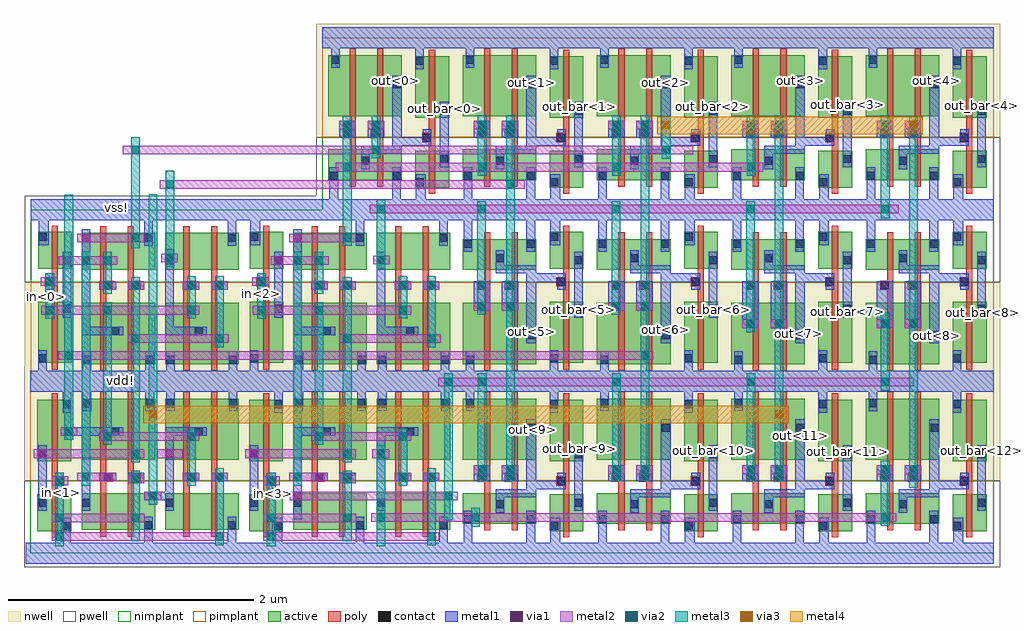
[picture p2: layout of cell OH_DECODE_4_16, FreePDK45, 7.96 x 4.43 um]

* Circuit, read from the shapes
.subckt OH_DECODE_4_16 in<0> in<1> in<2> in<3> out<0> out<10> out<11> out<12> out<1> out<2> out<3> out<4> out<5> out<6> out<7> out<8> out<9> out_bar<0> out_bar<10> out_bar<11> out_bar<12> out_bar<1> out_bar<2> out_bar<3> out_bar<4> out_bar<5> out_bar<6> out_bar<7> out_bar<8> out_bar<9> vdd! vss!
M1 vss! in<1> OH_DECODE_2_4_1/NAND2_2/B VSUBS nfet w=0.3u l=0.05u
M2 OH_DECODE_2_4_1/NAND2_1/A in<0> vss! VSUBS nfet w=0.3u l=0.05u
M3 n1 OH_DECODE_2_4_1/NAND2_1/A NOR2_12/B VSUBS nfet w=0.3u l=0.05u
M4 n2 OH_DECODE_2_4_1/NAND2_1/A NOR2_11/B VSUBS nfet w=0.3u l=0.05u
M5 vss! in<1> n1 VSUBS nfet w=0.3u l=0.05u
M6 vss! OH_DECODE_2_4_1/NAND2_2/B n2 VSUBS nfet w=0.3u l=0.05u
M7 n3 in<0> NOR2_10/B VSUBS nfet w=0.3u l=0.05u
M8 n4 in<0> NOR2_13/B VSUBS nfet w=0.3u l=0.05u
M9 vss! in<1> n3 VSUBS nfet w=0.3u l=0.05u
M10 vss! OH_DECODE_2_4_1/NAND2_2/B n4 VSUBS nfet w=0.3u l=0.05u
M11 vss! in<3> OH_DECODE_2_4_0/NAND2_2/B VSUBS nfet w=0.3u l=0.05u
M12 OH_DECODE_2_4_0/NAND2_1/A in<2> vss! VSUBS nfet w=0.3u l=0.05u
M13 n5 OH_DECODE_2_4_0/NAND2_1/A NOR2_10/A VSUBS nfet w=0.3u l=0.05u
M14 n6 OH_DECODE_2_4_0/NAND2_1/A NOR2_14/A VSUBS nfet w=0.3u l=0.05u
M15 vss! in<3> n5 VSUBS nfet w=0.3u l=0.05u
M16 vss! OH_DECODE_2_4_0/NAND2_2/B n6 VSUBS nfet w=0.3u l=0.05u
M17 out<0> NOR2_14/A vss! VSUBS nfet w=0.25u l=0.05u
M18 vss! NOR2_11/B out<0> VSUBS nfet w=0.25u l=0.05u
M19 n7 in<2> NOR2_11/A VSUBS nfet w=0.3u l=0.05u
M20 n8 in<2> NOR2_13/A VSUBS nfet w=0.3u l=0.05u
M21 vss! in<3> n7 VSUBS nfet w=0.3u l=0.05u
M22 vss! OH_DECODE_2_4_0/NAND2_2/B n8 VSUBS nfet w=0.3u l=0.05u
M23 out_bar<0> out<0> vss! VSUBS nfet w=0.3u l=0.05u
M24 out<9> NOR2_10/A vss! VSUBS nfet w=0.25u l=0.05u
M25 out<5> NOR2_13/A vss! VSUBS nfet w=0.25u l=0.05u
M26 out<1> NOR2_14/A vss! VSUBS nfet w=0.25u l=0.05u
M27 vss! NOR2_13/B out<9> VSUBS nfet w=0.25u l=0.05u
M28 vss! NOR2_13/B out<5> VSUBS nfet w=0.25u l=0.05u
M29 vss! NOR2_13/B out<1> VSUBS nfet w=0.25u l=0.05u
M30 out_bar<9> out<9> vss! VSUBS nfet w=0.3u l=0.05u
M31 out_bar<5> out<5> vss! VSUBS nfet w=0.3u l=0.05u
M32 out_bar<1> out<1> vss! VSUBS nfet w=0.3u l=0.05u
M33 out<10> NOR2_10/A vss! VSUBS nfet w=0.25u l=0.05u
M34 out<6> NOR2_13/A vss! VSUBS nfet w=0.25u l=0.05u
M35 out<2> NOR2_14/A vss! VSUBS nfet w=0.25u l=0.05u
M36 vss! NOR2_12/B out<10> VSUBS nfet w=0.25u l=0.05u
M37 vss! NOR2_12/B out<6> VSUBS nfet w=0.25u l=0.05u
M38 vss! NOR2_12/B out<2> VSUBS nfet w=0.25u l=0.05u
M39 out_bar<10> out<10> vss! VSUBS nfet w=0.3u l=0.05u
M40 out_bar<6> out<6> vss! VSUBS nfet w=0.3u l=0.05u
M41 out_bar<2> out<2> vss! VSUBS nfet w=0.3u l=0.05u
M42 out<11> NOR2_10/A vss! VSUBS nfet w=0.25u l=0.05u
M43 out<7> NOR2_13/A vss! VSUBS nfet w=0.25u l=0.05u
M44 out<3> NOR2_14/A vss! VSUBS nfet w=0.25u l=0.05u
M45 vss! NOR2_10/B out<11> VSUBS nfet w=0.25u l=0.05u
M46 vss! NOR2_10/B out<7> VSUBS nfet w=0.25u l=0.05u
M47 vss! NOR2_10/B out<3> VSUBS nfet w=0.25u l=0.05u
M48 out_bar<11> out<11> vss! VSUBS nfet w=0.3u l=0.05u
M49 out_bar<7> out<7> vss! VSUBS nfet w=0.3u l=0.05u
M50 out_bar<3> out<3> vss! VSUBS nfet w=0.3u l=0.05u
M51 out<12> NOR2_11/A vss! VSUBS nfet w=0.25u l=0.05u
M52 out<8> NOR2_10/A vss! VSUBS nfet w=0.25u l=0.05u
M53 out<4> NOR2_13/A vss! VSUBS nfet w=0.25u l=0.05u
M54 vss! NOR2_11/B out<12> VSUBS nfet w=0.25u l=0.05u
M55 vss! NOR2_11/B out<8> VSUBS nfet w=0.25u l=0.05u
M56 vss! NOR2_11/B out<4> VSUBS nfet w=0.25u l=0.05u
M57 out_bar<12> out<12> vss! VSUBS nfet w=0.3u l=0.05u
M58 out_bar<8> out<8> vss! VSUBS nfet w=0.3u l=0.05u
M59 out_bar<4> out<4> vss! VSUBS nfet w=0.3u l=0.05u
M60 vdd! in<1> OH_DECODE_2_4_1/NAND2_2/B n9 pfet w=0.5u l=0.05u
M61 OH_DECODE_2_4_1/NAND2_1/A in<0> vdd! n9 pfet w=0.5u l=0.05u
M62 NOR2_12/B OH_DECODE_2_4_1/NAND2_1/A vdd! n9 pfet w=0.5u l=0.05u
M63 NOR2_11/B OH_DECODE_2_4_1/NAND2_1/A vdd! n9 pfet w=0.5u l=0.05u
M64 vdd! in<1> NOR2_12/B n9 pfet w=0.5u l=0.05u
M65 vdd! OH_DECODE_2_4_1/NAND2_2/B NOR2_11/B n9 pfet w=0.5u l=0.05u
M66 NOR2_10/B in<0> vdd! n9 pfet w=0.5u l=0.05u
M67 NOR2_13/B in<0> vdd! n9 pfet w=0.5u l=0.05u
M68 vdd! in<1> NOR2_10/B n9 pfet w=0.5u l=0.05u
M69 vdd! OH_DECODE_2_4_1/NAND2_2/B NOR2_13/B n9 pfet w=0.5u l=0.05u
M70 vdd! in<3> OH_DECODE_2_4_0/NAND2_2/B n9 pfet w=0.5u l=0.05u
M71 OH_DECODE_2_4_0/NAND2_1/A in<2> vdd! n9 pfet w=0.5u l=0.05u
M72 NOR2_10/A OH_DECODE_2_4_0/NAND2_1/A vdd! n9 pfet w=0.5u l=0.05u
M73 NOR2_14/A OH_DECODE_2_4_0/NAND2_1/A vdd! n9 pfet w=0.5u l=0.05u
M74 vdd! in<3> NOR2_10/A n9 pfet w=0.5u l=0.05u
M75 vdd! OH_DECODE_2_4_0/NAND2_2/B NOR2_14/A n9 pfet w=0.5u l=0.05u
M76 n10 NOR2_14/A vdd! n11 pfet w=0.5u l=0.05u
M77 out<0> NOR2_11/B n10 n11 pfet w=0.5u l=0.05u
M78 NOR2_11/A in<2> vdd! n9 pfet w=0.5u l=0.05u
M79 NOR2_13/A in<2> vdd! n9 pfet w=0.5u l=0.05u
M80 vdd! in<3> NOR2_11/A n9 pfet w=0.5u l=0.05u
M81 vdd! OH_DECODE_2_4_0/NAND2_2/B NOR2_13/A n9 pfet w=0.5u l=0.05u
M82 out_bar<0> out<0> vdd! n11 pfet w=0.5u l=0.05u
M83 n12 NOR2_10/A vdd! n9 pfet w=0.5u l=0.05u
M84 n13 NOR2_13/A vdd! n9 pfet w=0.5u l=0.05u
M85 n14 NOR2_14/A vdd! n11 pfet w=0.5u l=0.05u
M86 out<9> NOR2_13/B n12 n9 pfet w=0.5u l=0.05u
M87 out<5> NOR2_13/B n13 n9 pfet w=0.5u l=0.05u
M88 out<1> NOR2_13/B n14 n11 pfet w=0.5u l=0.05u
M89 out_bar<9> out<9> vdd! n9 pfet w=0.5u l=0.05u
M90 out_bar<5> out<5> vdd! n9 pfet w=0.5u l=0.05u
M91 out_bar<1> out<1> vdd! n11 pfet w=0.5u l=0.05u
M92 n15 NOR2_10/A vdd! n9 pfet w=0.5u l=0.05u
M93 n16 NOR2_13/A vdd! n9 pfet w=0.5u l=0.05u
M94 n17 NOR2_14/A vdd! n11 pfet w=0.5u l=0.05u
M95 out<10> NOR2_12/B n15 n9 pfet w=0.5u l=0.05u
M96 out<6> NOR2_12/B n16 n9 pfet w=0.5u l=0.05u
M97 out<2> NOR2_12/B n17 n11 pfet w=0.5u l=0.05u
M98 out_bar<10> out<10> vdd! n9 pfet w=0.5u l=0.05u
M99 out_bar<6> out<6> vdd! n9 pfet w=0.5u l=0.05u
M100 out_bar<2> out<2> vdd! n11 pfet w=0.5u l=0.05u
M101 n18 NOR2_10/A vdd! n9 pfet w=0.5u l=0.05u
M102 n19 NOR2_13/A vdd! n9 pfet w=0.5u l=0.05u
M103 n20 NOR2_14/A vdd! n11 pfet w=0.5u l=0.05u
M104 out<11> NOR2_10/B n18 n9 pfet w=0.5u l=0.05u
M105 out<7> NOR2_10/B n19 n9 pfet w=0.5u l=0.05u
M106 out<3> NOR2_10/B n20 n11 pfet w=0.5u l=0.05u
M107 out_bar<11> out<11> vdd! n9 pfet w=0.5u l=0.05u
M108 out_bar<7> out<7> vdd! n9 pfet w=0.5u l=0.05u
M109 out_bar<3> out<3> vdd! n11 pfet w=0.5u l=0.05u
M110 n21 NOR2_11/A vdd! n9 pfet w=0.5u l=0.05u
M111 n22 NOR2_10/A vdd! n9 pfet w=0.5u l=0.05u
M112 n23 NOR2_13/A vdd! n11 pfet w=0.5u l=0.05u
M113 out<12> NOR2_11/B n21 n9 pfet w=0.5u l=0.05u
M114 out<8> NOR2_11/B n22 n9 pfet w=0.5u l=0.05u
M115 out<4> NOR2_11/B n23 n11 pfet w=0.5u l=0.05u
M116 out_bar<12> out<12> vdd! n9 pfet w=0.5u l=0.05u
M117 out_bar<8> out<8> vdd! n9 pfet w=0.5u l=0.05u
M118 out_bar<4> out<4> vdd! n11 pfet w=0.5u l=0.05u
.ends

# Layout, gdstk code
from math import pi, radians
import gdstk
lib = gdstk.Library(unit=1e-6, precision=1e-09)
def R(c, l, rs):  # rectangles x0, y0, x1, y1
    for r in rs: c.add(gdstk.rectangle(r[:2], r[2:], *l))
def A(c, l, x, y, w, h, nx, ny, dx, dy):  # array of equal rectangles
    R(c, l, [(x+i*dx, y+j*dy, x+i*dx+w, y+j*dy+h) for i in range(nx) for j in range(ny)])
active = (1, 0)
pwell = (2, 0)
nwell = (3, 0)
nimplant = (4, 0)
pimplant = (5, 0)
poly = (9, 0)
contact = (10, 0)
metal1 = (11, 0)
via1 = (12, 0)
metal2 = (13, 0)
via2 = (14, 0)
metal3 = (15, 0)
via3 = (16, 0)
metal4 = (17, 0)

nand2 = lib.new_cell('NAND2')
R(nand2, active, [(0.26,0.295,0.86,0.595), (0.26,0.865,0.86,1.365)])
R(nand2, pwell, [(0.16,-0.01,0.96,0.695)])
R(nand2, nwell, [(0.16,0.695,0.96,1.62)])
R(nand2, nimplant, [(0.21,0.105,0.91,0.695)])
R(nand2, pimplant, [(0.21,0.695,0.91,1.505)])
R(nand2, poly, [(0.41,0.24,0.46,1.42), (0.635,0.24,0.685,1.42), (0.41,0.685,0.515,0.76), (0.635,0.685,0.74,0.76)])
R(nand2, contact, [(0.77,0.3,0.835,0.365), (0.265,0.485,0.33,0.55), (0.44,0.69,0.505,0.755), (0.67,0.69,0.735,0.755), (0.5,1.06,0.565,1.125), (0.27,1.295,0.335,1.36), (0.78,1.295,0.845,1.36)])
R(nand2, metal1, [(0.21,0.02,0.91,0.19), (0.77,0.15,0.84,0.4), (0.26,0.45,0.33,1.13), (0.405,0.69,0.54,0.76), (0.635,0.69,0.77,0.76), (0.265,1.06,0.6,1.13), (0.27,1.26,0.34,1.46), (0.78,1.26,0.85,1.465), (0.21,1.42,0.91,1.59)])
nand2.add(gdstk.Label('Z', (0.295,0.605), layer=11, texttype=0))
nand2.add(gdstk.Label('B', (0.73,0.725), layer=11, texttype=0))
nand2.add(gdstk.Label('A', (0.515,0.725), layer=11, texttype=0))
nand2.add(gdstk.Label('vss!', (0.555,0.12), layer=11, texttype=0))
nand2.add(gdstk.Label('vdd!', (0.575,1.495), layer=11, texttype=0))

invd1 = lib.new_cell('INVD1')
R(invd1, active, [(0.545,-1.465,0.82,-1.165), (0.545,-0.895,0.82,-0.395)])
R(invd1, pwell, [(0.435,-1.76,0.93,-1.055)])
R(invd1, nwell, [(0.435,-1.055,0.93,-0.13)])
R(invd1, nimplant, [(0.485,-1.645,0.88,-1.055)])
R(invd1, pimplant, [(0.485,-1.055,0.88,-0.245)])
R(invd1, poly, [(0.655,-1.515,0.705,-0.34), (0.6,-1.095,0.705,-1.02)])
R(invd1, contact, [(0.55,-1.455,0.615,-1.39), (0.745,-1.265,0.81,-1.2), (0.605,-1.09,0.67,-1.025), (0.745,-0.87,0.81,-0.805), (0.55,-0.465,0.615,-0.4)])
R(invd1, metal1, [(0.485,-1.73,0.88,-1.56), (0.55,-1.64,0.63,-1.355), (0.745,-1.3,0.815,-0.765), (0.605,-1.125,0.675,-0.99), (0.545,-0.5,0.615,-0.33), (0.485,-0.33,0.88,-0.16)])
invd1.add(gdstk.Label('vo', (0.775,-1.06), layer=11, texttype=0))
invd1.add(gdstk.Label('vi', (0.635,-1.045), layer=11, texttype=0))
invd1.add(gdstk.Label('vss!', (0.68,-1.705), layer=11, texttype=0))
invd1.add(gdstk.Label('vdd!', (0.675,-0.23), layer=11, texttype=0))

oh_decode_2_4 = lib.new_cell('OH_DECODE_2_4')
R(oh_decode_2_4, metal1, [(0.365,0.11,0.4,0.28), (1.195,0.765,1.33,0.85)])
R(oh_decode_2_4, via1, [(0.61,0.75,0.675,0.815), (1.23,0.765,1.295,0.83), (1,0.78,1.065,0.845), (1.68,0.78,1.745,0.845), (1.91,0.78,1.975,0.845), (0.465,0.97,0.53,1.035), (1,2.345,1.065,2.41), (1.23,2.345,1.295,2.41), (1.68,2.345,1.745,2.41), (1.91,2.345,1.975,2.41), (0.525,2.375,0.59,2.44), (0.67,2.55,0.735,2.615)])
R(oh_decode_2_4, metal2, [(0.575,0.295,2.01,0.365), (0.575,0.445,1.335,0.515), (0.575,0.75,0.71,0.82), (1.195,0.765,1.33,0.835), (0.785,0.78,1.1,0.85), (1.645,0.78,1.78,0.85), (1.875,0.78,2.01,0.85), (0.43,0.97,1.33,1.04), (0.965,1.11,1.78,1.18), (0.49,2.14,1.78,2.21), (0.965,2.34,1.1,2.41), (1.195,2.34,1.33,2.41), (1.645,2.34,1.78,2.41), (1.875,2.34,2.01,2.41), (0.485,2.375,0.625,2.445), (0.635,2.545,1.11,2.615)])
A(oh_decode_2_4, via2, 1, 2.14, 0.065, 0.065, 1, 3, 0, 0.205)
R(oh_decode_2_4, via2, [(0.61,0.295,0.675,0.36), (1.91,0.295,1.975,0.36), (0.61,0.45,0.675,0.515), (1.225,0.45,1.29,0.515), (0.61,0.75,0.675,0.815), (1.23,0.765,1.295,0.83), (1.68,0.78,1.745,0.845), (1.91,0.78,1.975,0.845), (0.825,0.785,0.89,0.85), (1.23,0.97,1.295,1.035), (1.68,1.11,1.745,1.175), (1,1.115,1.065,1.18), (1.23,1.915,1.295,1.98), (1.91,1.915,1.975,1.98), (0.525,2.14,0.59,2.205), (1.68,2.145,1.745,2.21), (1.23,2.345,1.295,2.41), (1.68,2.345,1.745,2.41), (1.91,2.345,1.975,2.41), (0.525,2.375,0.59,2.44), (0.825,2.55,0.89,2.615)])
R(oh_decode_2_4, metal3, [(0.605,0.25,0.675,0.85), (1.91,0.26,1.98,0.885), (0.82,0.745,0.89,2.65), (1.68,0.745,1.75,1.21), (1.225,0.935,1.295,2.445), (0.995,1.08,1.065,2.24), (0.525,2.105,0.595,2.475), (0.995,2.31,1.065,2.65)])
oh_decode_2_4.add(gdstk.FlexPath([(1.26,0.865),(1.26,0.29)], 0.07, ends="flush", simple_path=True, layer=15, datatype=0))  # metal3
oh_decode_2_4.add(gdstk.FlexPath([(1.945,1.875),(1.945,2.45)], 0.07, ends="flush", simple_path=True, layer=15, datatype=0))  # metal3
oh_decode_2_4.add(gdstk.FlexPath([(1.715,2.11),(1.715,2.45)], 0.07, ends="flush", simple_path=True, layer=15, datatype=0))  # metal3
oh_decode_2_4.add(gdstk.FlexPath([(1.195,1.945),(2.02,1.945)], 0.07, ends="flush", simple_path=True, layer=13, datatype=0))  # metal2
oh_decode_2_4.add(gdstk.Reference(nand2, (1.24,0.09)))
oh_decode_2_4.add(gdstk.Reference(nand2, (0.56,0.09)))
oh_decode_2_4.add(gdstk.Reference(nand2, (0.56,3.1), x_reflection=True))
oh_decode_2_4.add(gdstk.Reference(nand2, (1.24,3.1), x_reflection=True))
oh_decode_2_4.add(gdstk.Reference(invd1, (1.28,1.84), rotation=pi, x_reflection=True))
oh_decode_2_4.add(gdstk.Reference(invd1, (-0.08,1.35), x_reflection=True))
oh_decode_2_4.add(gdstk.Label('A', (0.525,2.475), layer=15, texttype=0))
oh_decode_2_4.add(gdstk.Label('B', (0.675,0.85), layer=15, texttype=0))
oh_decode_2_4.add(gdstk.Label('vdd!', (0.9,1.6), layer=11, texttype=0))
oh_decode_2_4.add(gdstk.Label('vss!', (0.64,2.945), layer=11, texttype=0))
oh_decode_2_4.add(gdstk.Label('OUT<3>', (1.61,1.21), layer=11, texttype=0))
oh_decode_2_4.add(gdstk.Label('OUT<2>', (0.88,1.21), layer=11, texttype=0))
oh_decode_2_4.add(gdstk.Label('OUT<1>', (1.57,2.65), layer=11, texttype=0))
oh_decode_2_4.add(gdstk.Label('OUT<0>', (0.89,2.65), layer=11, texttype=0))

nor2 = lib.new_cell('NOR2')
R(nor2, active, [(0.15,-0.785,0.75,-0.535), (0.15,-0.265,0.75,0.235)])
R(nor2, pwell, [(0.05,-1.14,0.85,-0.435)])
R(nor2, nwell, [(0.05,-0.435,0.85,0.49)])
R(nor2, nimplant, [(0.1,-1.025,0.8,-0.435)])
R(nor2, pimplant, [(0.1,-0.435,0.8,0.375)])
R(nor2, poly, [(0.3,-0.84,0.35,0.29), (0.525,-0.84,0.575,0.29), (0.3,-0.445,0.405,-0.37), (0.525,-0.445,0.63,-0.37)])
R(nor2, contact, [(0.16,-0.78,0.225,-0.715), (0.67,-0.78,0.735,-0.715), (0.415,-0.66,0.48,-0.595), (0.33,-0.44,0.395,-0.375), (0.56,-0.44,0.625,-0.375), (0.155,-0.035,0.22,0.03), (0.66,0.165,0.725,0.23)])
R(nor2, metal1, [(0.1,-1.11,0.8,-0.94), (0.16,-1.07,0.23,-0.68), (0.67,-1.07,0.74,-0.68), (0.41,-0.695,0.48,-0.505), (0.15,-0.57,0.23,0.065), (0.15,-0.57,0.48,-0.505), (0.295,-0.44,0.43,-0.37), (0.525,-0.44,0.66,-0.37), (0.655,0.13,0.725,0.33), (0.1,0.29,0.8,0.46)])
nor2.add(gdstk.Label('vss!', (0.445,-1.01), layer=11, texttype=0))
nor2.add(gdstk.Label('vdd!', (0.465,0.365), layer=11, texttype=0))
nor2.add(gdstk.Label('B', (0.4,-0.405), layer=11, texttype=0))
nor2.add(gdstk.Label('A', (0.635,-0.405), layer=11, texttype=0))
nor2.add(gdstk.Label('Z', (0.185,-0.455), layer=11, texttype=0))

oh_decode_4_16 = lib.new_cell('OH_DECODE_4_16')
A(oh_decode_4_16, metal1, 7.265, 4.735, 0.32, 0.07, 4, 2, 1.095, 1.69)
A(oh_decode_4_16, metal1, 6.17, 7.535, 0.32, 0.07, 5, 1, 1.095, 0)
R(oh_decode_4_16, metal1, [(5.365,4.49,5.435,4.56), (4.15,4.645,4.32,4.715), (6.835,4.8,6.97,4.93), (7.065,4.8,7.2,4.93), (7.93,4.8,8.065,4.93), (8.16,4.8,8.295,4.93), (9.025,4.8,9.16,4.93), (9.255,4.8,9.39,4.93), (10.12,4.8,10.255,4.93), (10.35,4.8,10.485,4.93), (3.47,5.17,3.645,5.24), (9.025,6.05,9.16,6.43), (9.255,6.05,9.39,6.43), (10.12,6.05,10.255,6.43), (10.35,6.05,10.485,6.43), (6.835,6.19,6.97,6.43), (7.065,6.19,7.2,6.43), (7.93,6.19,8.065,6.43), (8.16,6.19,8.295,6.43), (3.64,6.64,3.71,6.855), (5.365,6.64,5.435,6.855), (4.32,6.67,4.39,6.69), (5.74,7.6,5.875,7.74), (5.97,7.6,6.105,7.74), (6.835,7.6,6.97,7.74), (7.065,7.6,7.2,7.74), (7.93,7.6,8.065,7.74), (8.16,7.6,8.295,7.74), (9.025,7.6,9.16,7.74), (9.255,7.6,9.39,7.74), (10.12,7.6,10.255,7.74), (10.35,7.6,10.485,7.74)])
R(oh_decode_4_16, via1, [(4.19,4.65,4.255,4.715), (5.37,4.65,5.435,4.715), (6.87,4.865,6.935,4.93), (7.1,4.865,7.165,4.93), (7.965,4.865,8.03,4.93), (8.195,4.865,8.26,4.93), (9.06,4.865,9.125,4.93), (9.29,4.865,9.355,4.93), (10.155,4.865,10.22,4.93), (10.385,4.865,10.45,4.93), (4.325,4.995,4.39,5.06), (6.045,4.995,6.11,5.06), (3.505,5.175,3.57,5.24), (9.06,6.055,9.125,6.12), (9.29,6.055,9.355,6.12), (10.155,6.055,10.22,6.12), (10.385,6.055,10.45,6.12), (6.87,6.195,6.935,6.26), (7.1,6.195,7.165,6.26), (7.965,6.195,8.03,6.26), (8.195,6.195,8.26,6.26), (6.05,6.57,6.115,6.635), (4.325,6.59,4.39,6.655), (3.64,6.755,3.705,6.82), (5.365,6.755,5.43,6.82), (5.775,7.675,5.84,7.74), (6.005,7.675,6.07,7.74), (6.87,7.675,6.935,7.74), (7.1,7.675,7.165,7.74), (7.965,7.675,8.03,7.74), (8.195,7.675,8.26,7.74), (9.06,7.675,9.125,7.74), (9.29,7.675,9.355,7.74), (10.155,7.675,10.22,7.74), (10.385,7.675,10.45,7.74)])
R(oh_decode_4_16, metal2, [(4.15,4.645,4.29,4.715), (5.335,4.645,6.705,4.715), (6.835,4.86,6.97,4.93), (7.065,4.86,7.2,4.93), (7.93,4.86,8.065,4.93), (8.16,4.86,8.295,4.93), (9.025,4.86,9.16,4.93), (9.255,4.86,9.39,4.93), (10.12,4.86,10.255,4.93), (10.35,4.86,10.485,4.93), (4.255,4.99,4.465,5.06), (6.01,4.99,6.145,5.06), (3.47,5.17,3.605,5.24), (9.025,6.05,9.16,6.12), (9.255,6.05,9.39,6.12), (10.12,6.05,10.255,6.12), (10.35,6.05,10.485,6.12), (6.835,6.19,6.97,6.26), (7.065,6.19,7.2,6.26), (7.93,6.19,8.065,6.26), (8.16,6.19,8.295,6.26), (6.015,6.57,6.15,6.64), (4.29,6.585,4.425,6.655), (3.605,6.75,4.15,6.82), (5.33,6.75,5.875,6.82), (5.74,7.67,5.875,7.74), (5.97,7.67,6.105,7.74), (6.835,7.67,6.97,7.74), (7.065,7.67,7.2,7.74), (7.93,7.67,8.065,7.74), (8.16,7.67,8.295,7.74), (9.025,7.67,9.16,7.74), (9.255,7.67,9.39,7.74), (10.12,7.67,10.255,7.74), (10.35,7.67,10.485,7.74)])
A(oh_decode_4_16, via2, 6.87, 5.58, 0.065, 0.065, 4, 1, 1.095, 0)
A(oh_decode_4_16, via2, 6.865, 6.985, 0.065, 0.065, 3, 1, 1.095, 0)
A(oh_decode_4_16, via2, 6.87, 7.33, 0.065, 0.065, 3, 1, 1.095, 0)
R(oh_decode_4_16, via2, [(6.045,4.475,6.11,4.54), (6.815,4.475,6.88,4.54), (10.155,4.475,10.22,4.54), (4.19,4.65,4.255,4.715), (6.595,4.65,6.66,4.715), (6.87,4.865,6.935,4.93), (7.1,4.865,7.165,4.93), (7.965,4.865,8.03,4.93), (8.195,4.865,8.26,4.93), (9.06,4.865,9.125,4.93), (9.29,4.865,9.355,4.93), (10.155,4.865,10.22,4.93), (10.385,4.865,10.45,4.93), (6.045,4.995,6.11,5.06), (3.505,5.175,3.57,5.24), (6.595,5.58,6.66,5.645), (3.5,5.795,3.565,5.86), (8.195,5.795,8.26,5.86), (9.06,6.055,9.125,6.12), (9.29,6.055,9.355,6.12), (10.155,6.055,10.22,6.12), (10.385,6.055,10.45,6.12), (6.87,6.195,6.935,6.26), (7.1,6.195,7.165,6.26), (7.965,6.195,8.03,6.26), (8.195,6.195,8.26,6.26), (6.05,6.57,6.115,6.635), (4.325,6.59,4.39,6.655), (4.045,6.755,4.11,6.82), (5.77,6.755,5.835,6.82), (6.045,6.985,6.11,7.05), (10.155,6.985,10.22,7.05), (4.325,7.19,4.39,7.255), (7.1,7.19,7.165,7.255), (5.77,7.33,5.835,7.395), (4.045,7.47,4.11,7.535), (6.005,7.47,6.07,7.535), (8.37,7.47,8.435,7.535), (5.775,7.675,5.84,7.74), (6.005,7.675,6.07,7.74), (6.87,7.675,6.935,7.74), (7.1,7.675,7.165,7.74), (7.965,7.675,8.03,7.74), (8.195,7.675,8.26,7.74), (9.06,7.675,9.125,7.74), (9.29,7.675,9.355,7.74), (10.155,7.675,10.22,7.74), (10.385,7.675,10.45,7.74)])
A(oh_decode_4_16, metal3, 6.87, 7.29, 0.07, 0.495, 3, 1, 1.095, 0)
R(oh_decode_4_16, metal3, [(6.045,4.27,6.115,5.095), (4.185,4.61,4.255,7.14), (10.385,4.75,10.455,7.775), (7.1,4.8,7.17,7.785), (3.5,5.14,3.57,7.135), (9.055,6.015,9.125,7.085), (6.865,6.16,6.935,7.085), (7.96,6.16,8.03,7.085), (6.045,6.535,6.115,7.095), (4.325,6.55,4.395,7.33), (4.045,6.7,4.115,7.605), (5.77,6.72,5.84,7.775), (10.155,6.945,10.225,7.785), (6.005,7.435,6.075,7.78)])
R(oh_decode_4_16, via3, [(4.185,5.315,4.25,5.38), (9.295,5.315,9.36,5.38), (8.37,7.67,8.435,7.735), (10.385,7.675,10.45,7.74)])
oh_decode_4_16.add(gdstk.FlexPath([(4.14,5.345),(9.405,5.345)], 0.14, ends="flush", simple_path=True, layer=17, datatype=0))  # metal4
oh_decode_4_16.add(gdstk.FlexPath([(10.495,7.7),(8.33,7.7)], 0.14, ends="flush", simple_path=True, layer=17, datatype=0))  # metal4
oh_decode_4_16.add(gdstk.FlexPath([(3.45,5.825),(8.3,5.825)], 0.07, ends="flush", simple_path=True, layer=13, datatype=0))  # metal2
oh_decode_4_16.add(gdstk.FlexPath([(7.25,7.22),(4.275,7.22)], 0.07, ends="flush", simple_path=True, layer=13, datatype=0))  # metal2
oh_decode_4_16.add(gdstk.FlexPath([(10.28,4.505),(6,4.505)], 0.07, ends="flush", simple_path=True, layer=13, datatype=0))  # metal2
oh_decode_4_16.add(gdstk.FlexPath([(5.99,7.02),(10.3,7.02)], 0.07, ends="flush", simple_path=True, layer=13, datatype=0))  # metal2
oh_decode_4_16.add(gdstk.FlexPath([(3.975,7.5),(8.625,7.5)], 0.07, ends="flush", simple_path=True, layer=13, datatype=0))  # metal2
oh_decode_4_16.add(gdstk.FlexPath([(5.71,7.36),(9.195,7.36)], 0.07, ends="flush", simple_path=True, layer=13, datatype=0))  # metal2
oh_decode_4_16.add(gdstk.FlexPath([(10.42,5.61),(6.545,5.61)], 0.07, ends="flush", simple_path=True, layer=13, datatype=0))  # metal2
oh_decode_4_16.add(gdstk.FlexPath([(9.325,7.785),(9.325,4.8)], 0.07, ends="flush", simple_path=True, layer=15, datatype=0))  # metal3
oh_decode_4_16.add(gdstk.FlexPath([(8.23,7.785),(8.23,4.805)], 0.07, ends="flush", simple_path=True, layer=15, datatype=0))  # metal3
oh_decode_4_16.add(gdstk.FlexPath([(8.405,7.43),(8.405,7.77)], 0.07, ends="flush", simple_path=True, layer=15, datatype=0))  # metal3
oh_decode_4_16.add(gdstk.FlexPath([(10.19,4.97),(10.19,4.44)], 0.07, ends="flush", simple_path=True, layer=15, datatype=0))  # metal3
oh_decode_4_16.add(gdstk.FlexPath([(6.85,4.585),(6.85,4.43)], 0.07, ends="flush", simple_path=True, layer=15, datatype=0))  # metal3
oh_decode_4_16.add(gdstk.FlexPath([(9.095,4.8),(9.095,5.68)], 0.07, ends="flush", simple_path=True, layer=15, datatype=0))  # metal3
oh_decode_4_16.add(gdstk.FlexPath([(8,4.8),(8,5.68)], 0.07, ends="flush", simple_path=True, layer=15, datatype=0))  # metal3
oh_decode_4_16.add(gdstk.FlexPath([(6.905,4.8),(6.905,5.68)], 0.07, ends="flush", simple_path=True, layer=15, datatype=0))  # metal3
oh_decode_4_16.add(gdstk.FlexPath([(10.19,5.54),(10.19,6.175)], 0.07, ends="flush", simple_path=True, layer=15, datatype=0))  # metal3
oh_decode_4_16.add(gdstk.FlexPath([(6.63,4.485),(6.63,5.68)], 0.07, ends="flush", simple_path=True, layer=15, datatype=0))  # metal3
oh_decode_4_16.add(gdstk.Reference(oh_decode_2_4, (4.545,4.02)))
oh_decode_4_16.add(gdstk.Reference(oh_decode_2_4, (2.82,4.02)))
oh_decode_4_16.add(gdstk.Reference(nor2, (10.78,5.99), rotation=pi))
oh_decode_4_16.add(gdstk.Reference(nor2, (7.495,5.24), rotation=pi, x_reflection=True))
oh_decode_4_16.add(gdstk.Reference(nor2, (7.495,8.04), rotation=pi, x_reflection=True))
oh_decode_4_16.add(gdstk.Reference(nor2, (9.685,5.99), rotation=pi))
oh_decode_4_16.add(gdstk.Reference(nor2, (8.59,5.99), rotation=pi))
oh_decode_4_16.add(gdstk.Reference(nor2, (9.685,8.04), rotation=pi, x_reflection=True))
oh_decode_4_16.add(gdstk.Reference(nor2, (6.4,8.04), rotation=pi, x_reflection=True))
oh_decode_4_16.add(gdstk.Reference(nor2, (10.78,8.04), rotation=pi, x_reflection=True))
oh_decode_4_16.add(gdstk.Reference(nor2, (9.685,5.24), rotation=pi, x_reflection=True))
oh_decode_4_16.add(gdstk.Reference(nor2, (10.78,5.24), rotation=pi, x_reflection=True))
oh_decode_4_16.add(gdstk.Reference(nor2, (8.59,5.24), rotation=pi, x_reflection=True))
oh_decode_4_16.add(gdstk.Reference(nor2, (7.495,5.99), rotation=pi))
oh_decode_4_16.add(gdstk.Reference(nor2, (8.59,8.04), rotation=pi, x_reflection=True))
oh_decode_4_16.add(gdstk.Reference(invd1, (9.1,5.37), x_reflection=True))
oh_decode_4_16.add(gdstk.Reference(invd1, (6.91,8.66)))
oh_decode_4_16.add(gdstk.Reference(invd1, (6.91,5.37), x_reflection=True))
oh_decode_4_16.add(gdstk.Reference(invd1, (5.815,8.66)))
oh_decode_4_16.add(gdstk.Reference(invd1, (10.195,5.37), x_reflection=True))
oh_decode_4_16.add(gdstk.Reference(invd1, (8.005,5.86)))
oh_decode_4_16.add(gdstk.Reference(invd1, (8.005,5.37), x_reflection=True))
oh_decode_4_16.add(gdstk.Reference(invd1, (9.1,5.86)))
oh_decode_4_16.add(gdstk.Reference(invd1, (6.91,5.86)))
oh_decode_4_16.add(gdstk.Reference(invd1, (8.005,8.66)))
oh_decode_4_16.add(gdstk.Reference(invd1, (9.1,8.66)))
oh_decode_4_16.add(gdstk.Reference(invd1, (10.195,5.86)))
oh_decode_4_16.add(gdstk.Reference(invd1, (10.195,8.66)))
oh_decode_4_16.add(gdstk.Label('out_bar<0>', (6.6,7.84), layer=11, texttype=0))
oh_decode_4_16.add(gdstk.Label('out_bar<1>', (7.695,7.855), layer=11, texttype=0))
oh_decode_4_16.add(gdstk.Label('out_bar<2>', (8.785,7.855), layer=11, texttype=0))
oh_decode_4_16.add(gdstk.Label('out_bar<3>', (9.88,7.87), layer=11, texttype=0))
oh_decode_4_16.add(gdstk.Label('out_bar<4>', (10.975,7.86), layer=11, texttype=0))
oh_decode_4_16.add(gdstk.Label('out_bar<5>', (7.69,6.2), layer=11, texttype=0))
oh_decode_4_16.add(gdstk.Label('out_bar<6>', (8.79,6.2), layer=11, texttype=0))
oh_decode_4_16.add(gdstk.Label('out_bar<7>', (9.885,6.185), layer=11, texttype=0))
oh_decode_4_16.add(gdstk.Label('out_bar<8>', (10.985,6.18), layer=11, texttype=0))
oh_decode_4_16.add(gdstk.Label('out_bar<9>', (7.695,5.065), layer=11, texttype=0))
oh_decode_4_16.add(gdstk.Label('out_bar<10>', (8.79,5.055), layer=11, texttype=0))
oh_decode_4_16.add(gdstk.Label('out_bar<11>', (9.88,5.04), layer=11, texttype=0))
oh_decode_4_16.add(gdstk.Label('out_bar<12>', (10.98,5.055), layer=11, texttype=0))
oh_decode_4_16.add(gdstk.Label('vss!', (3.92,7.03), layer=11, texttype=0))
oh_decode_4_16.add(gdstk.Label('vdd!', (3.955,5.62), layer=11, texttype=0))
oh_decode_4_16.add(gdstk.Label('out<2>', (8.395,8.05), layer=11, texttype=0))
oh_decode_4_16.add(gdstk.Label('out<3>', (9.495,8.07), layer=11, texttype=0))
oh_decode_4_16.add(gdstk.Label('out<12>', (10.605,5.135), layer=11, texttype=0))
oh_decode_4_16.add(gdstk.Label('vss!', (3.93,7.07), layer=11, texttype=0))
oh_decode_4_16.add(gdstk.Label('out<1>', (7.305,8.055), layer=11, texttype=0))
oh_decode_4_16.add(gdstk.Label('out<0>', (6.195,8.065), layer=11, texttype=0))
oh_decode_4_16.add(gdstk.Label('out<9>', (7.315,5.22), layer=11, texttype=0))
oh_decode_4_16.add(gdstk.Label('out<6>', (8.395,6.035), layer=11, texttype=0))
oh_decode_4_16.add(gdstk.Label('out<5>', (7.305,6.025), layer=11, texttype=0))
oh_decode_4_16.add(gdstk.Label('out<4>', (10.605,8.07), layer=11, texttype=0))
oh_decode_4_16.add(gdstk.Label('out<11>', (9.5,5.17), layer=11, texttype=0))
oh_decode_4_16.add(gdstk.Label('out<7>', (9.48,6.005), layer=11, texttype=0))
oh_decode_4_16.add(gdstk.Label('out<10>', (8.395,5.155), layer=11, texttype=0))
oh_decode_4_16.add(gdstk.Label('out<8>', (10.605,5.99), layer=11, texttype=0))
oh_decode_4_16.add(gdstk.Label('in<3>', (5.2,4.705), layer=15, texttype=0))
oh_decode_4_16.add(gdstk.Label('in<2>', (5.105,6.335), layer=15, texttype=0))
oh_decode_4_16.add(gdstk.Label('in<1>', (3.475,4.71), layer=15, texttype=0))
oh_decode_4_16.add(gdstk.Label('in<0>', (3.355,6.305), layer=15, texttype=0))

lib.write_gds('OH_DECODE_4_16.gds')
